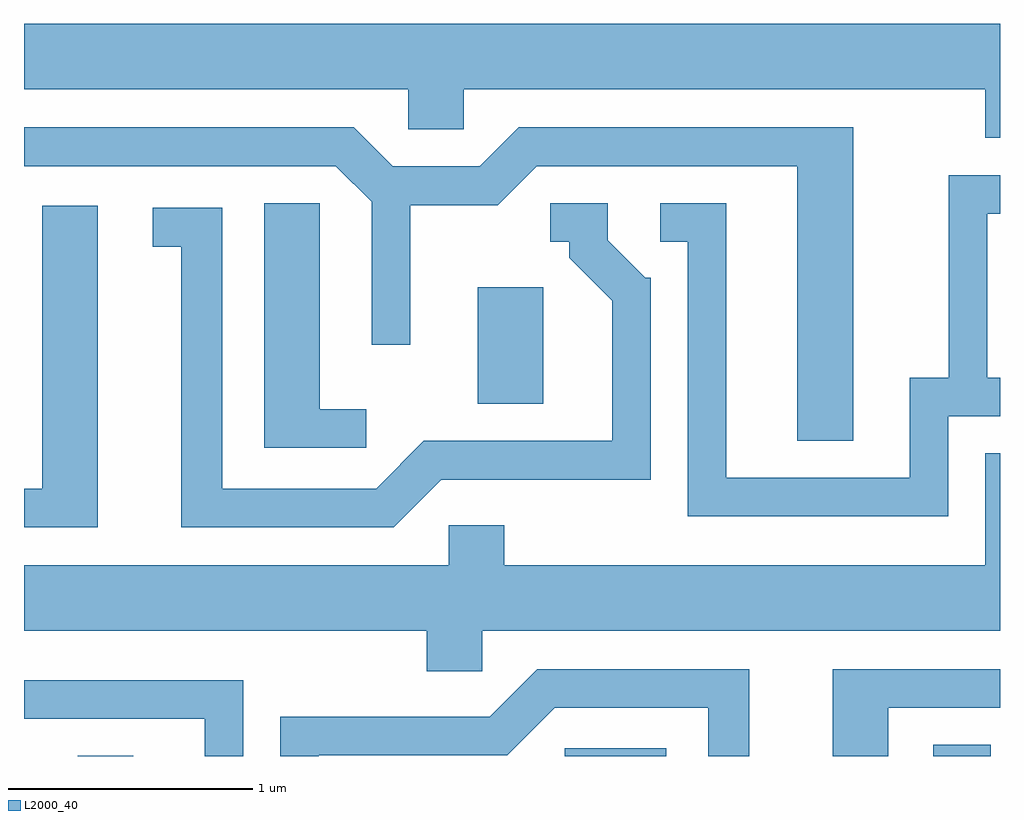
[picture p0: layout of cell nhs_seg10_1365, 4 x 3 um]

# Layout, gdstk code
import gdstk
lib = gdstk.Library(unit=1e-6, precision=1e-09)
def R(c, l, rs):  # rectangles x0, y0, x1, y1
    for r in rs: c.add(gdstk.rectangle(r[:2], r[2:], *l))
def P(c, l, *ps):  # polygons
    for p in ps: c.add(gdstk.Polygon(p, *l))
L2000_40 = (2000, 40)

nhs_seg10_1365 = lib.new_cell('nhs_seg10_1365')
R(nhs_seg10_1365, L2000_40, [(225.831,2104.522,226.059,2104.524), (227.828,2104.522,228.244,2104.554), (229.338,2104.522,229.574,2104.569), (227.471,2105.966,227.739,2106.444)])
P(nhs_seg10_1365, L2000_40, [(229.611,2107.524),(225.611,2107.524),(225.611,2107.256),(227.186,2107.256),(227.186,2107.091),(227.414,2107.091),(227.414,2107.256),(229.551,2107.256),(229.551,2107.056),(229.611,2107.056)],
  [(229.009,2107.099),(227.639,2107.099),(227.479,2106.939),(227.122,2106.939),(226.962,2107.099),(225.611,2107.099),(225.611,2106.941),(226.889,2106.941),(227.036,2106.794),(227.036,2106.208),(227.194,2106.208),(227.194,2106.781),(227.552,2106.781),(227.712,2106.941),(228.781,2106.941),(228.781,2105.816),(229.009,2105.816)],
  [(229.399,2105.916),(229.611,2105.916),(229.611,2106.074),(229.559,2106.074),(229.559,2106.746),(229.611,2106.746),(229.611,2106.904),(229.401,2106.904),(229.401,2106.074),(229.241,2106.074),(229.241,2105.664),(228.489,2105.664),(228.489,2106.789),(228.218,2106.789),(228.218,2106.631),(228.331,2106.631),(228.331,2105.506),(229.399,2105.506)],
  [(227.013,2105.944),(226.824,2105.944),(226.824,2106.789),(226.596,2106.789),(226.596,2105.786),(227.013,2105.786)],
  [(227.322,2105.656),(228.179,2105.656),(228.179,2106.484),(228.157,2106.484),(228.004,2106.637),(228.004,2106.789),(227.768,2106.789),(227.768,2106.631),(227.846,2106.631),(227.846,2106.564),(228.021,2106.389),(228.021,2105.814),(227.249,2105.814),(227.054,2105.619),(226.424,2105.619),(226.424,2106.769),(226.138,2106.769),(226.138,2106.611),(226.256,2106.611),(226.256,2105.461),(227.127,2105.461)],
  [(225.914,2106.779),(225.686,2106.779),(225.686,2105.619),(225.611,2105.619),(225.611,2105.461),(225.914,2105.461)],
  [(227.489,2105.036),(229.611,2105.036),(229.611,2105.764),(229.551,2105.764),(229.551,2105.304),(227.579,2105.304),(227.579,2105.469),(227.351,2105.469),(227.351,2105.304),(225.611,2105.304),(225.611,2105.036),(227.261,2105.036),(227.261,2104.871),(227.489,2104.871)],
  [(226.819,2104.526),(227.592,2104.526),(227.787,2104.721),(228.416,2104.721),(228.416,2104.522),(228.584,2104.522),(228.584,2104.879),(227.714,2104.879),(227.519,2104.684),(226.661,2104.684),(226.661,2104.522),(226.819,2104.522)],
  [(229.154,2104.721),(229.611,2104.721),(229.611,2104.879),(228.926,2104.879),(228.926,2104.522),(229.154,2104.522)],
  [(226.509,2104.834),(225.611,2104.834),(225.611,2104.676),(226.351,2104.676),(226.351,2104.522),(226.509,2104.522)])

lib.write_gds('nhs_seg10_1365.gds')
